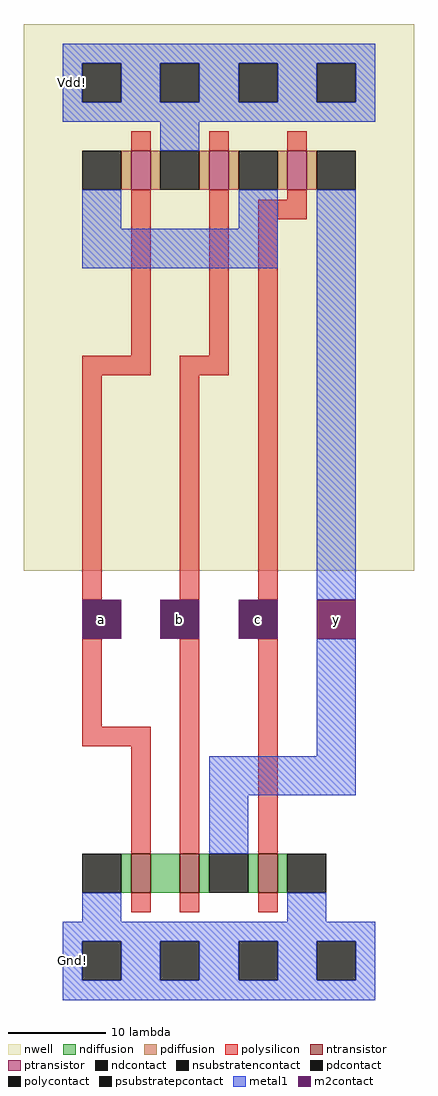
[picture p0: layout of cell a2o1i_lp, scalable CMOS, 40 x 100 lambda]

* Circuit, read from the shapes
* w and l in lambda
.subckt a2o1i_lp Gnd! Vdd! a b c y
M1 n1 a Gnd! Gnd! nfet w=4 l=2
M2 y b n1 Gnd! nfet w=4 l=2
M3 Gnd! c y Gnd! nfet w=4 l=2
M4 Vdd! a n2 Vdd! pfet w=4 l=2
M5 n2 b Vdd! Vdd! pfet w=4 l=2
M6 y c n2 Vdd! pfet w=4 l=2
.ends

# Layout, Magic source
magic
tech scmos
<< nwell >>
rect -4 40 36 96
<< ntransistor >>
rect 7 7 9 11
rect 12 7 14 11
rect 20 7 22 11
<< ptransistor >>
rect 7 79 9 83
rect 15 79 17 83
rect 23 79 25 83
<< ndiffusion >>
rect 6 7 7 11
rect 9 7 12 11
rect 14 7 15 11
rect 19 7 20 11
rect 22 7 23 11
<< pdiffusion >>
rect 6 79 7 83
rect 9 79 10 83
rect 14 79 15 83
rect 17 79 18 83
rect 22 79 23 83
rect 25 79 26 83
<< ndcontact >>
rect 2 7 6 11
rect 15 7 19 11
rect 23 7 27 11
<< pdcontact >>
rect 2 79 6 83
rect 10 79 14 83
rect 18 79 22 83
rect 26 79 30 83
<< psubstratepcontact >>
rect 2 -2 6 2
rect 10 -2 14 2
rect 18 -2 22 2
rect 26 -2 30 2
<< nsubstratencontact >>
rect 2 88 6 92
rect 10 88 14 92
rect 18 88 22 92
rect 26 88 30 92
<< polysilicon >>
rect 7 83 9 85
rect 15 83 17 85
rect 23 83 25 85
rect 7 62 9 79
rect 15 62 17 79
rect 23 78 25 79
rect 2 60 9 62
rect 12 60 17 62
rect 20 76 25 78
rect 2 37 4 60
rect 12 37 14 60
rect 20 37 22 76
rect 26 33 30 37
rect 2 24 4 33
rect 2 22 9 24
rect 7 11 9 22
rect 12 11 14 33
rect 20 11 22 33
rect 7 5 9 7
rect 12 5 14 7
rect 20 5 22 7
<< polycontact >>
rect 2 33 6 37
rect 10 33 14 37
rect 18 33 22 37
<< metal1 >>
rect 0 92 32 94
rect 0 88 2 92
rect 6 88 10 92
rect 14 88 18 92
rect 22 88 26 92
rect 30 88 32 92
rect 0 86 32 88
rect 10 83 14 86
rect 2 75 6 79
rect 18 75 22 79
rect 2 71 22 75
rect 26 37 30 79
rect 26 21 30 33
rect 15 17 30 21
rect 15 11 19 17
rect 2 4 6 7
rect 23 4 27 7
rect 0 2 32 4
rect 0 -2 2 2
rect 6 -2 10 2
rect 14 -2 18 2
rect 22 -2 26 2
rect 30 -2 32 2
rect 0 -4 32 -2
<< m2contact >>
rect 2 33 6 37
rect 10 33 14 37
rect 18 33 22 37
rect 26 33 30 37
<< labels >>
rlabel m2contact 4 35 4 35 1 a
rlabel m2contact 12 35 12 35 1 b
rlabel m2contact 20 35 20 35 1 c
rlabel metal1 1 0 1 0 2 Gnd!
rlabel metal1 1 90 1 90 3 Vdd!
rlabel m2contact 28 35 28 35 1 y
<< end >>
